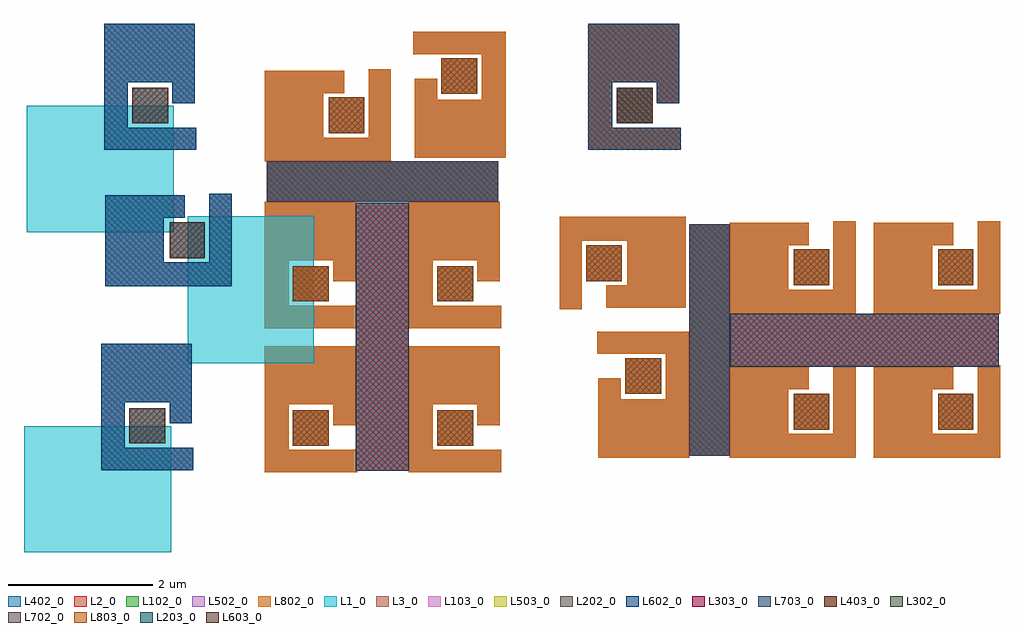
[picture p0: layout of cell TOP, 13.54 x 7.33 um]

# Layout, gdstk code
from math import pi, radians
import gdstk
lib = gdstk.Library(unit=1e-6, precision=1e-09)
def R(c, l, rs):  # rectangles x0, y0, x1, y1
    for r in rs: c.add(gdstk.rectangle(r[:2], r[2:], *l))
def P(c, l, *ps):  # polygons
    for p in ps: c.add(gdstk.Polygon(p, *l))
L1_0 = (1, 0)
L2_0 = (2, 0)
L3_0 = (3, 0)
L102_0 = (102, 0)
L103_0 = (103, 0)
L202_0 = (202, 0)
L203_0 = (203, 0)
L302_0 = (302, 0)
L303_0 = (303, 0)
L402_0 = (402, 0)
L403_0 = (403, 0)
L502_0 = (502, 0)
L503_0 = (503, 0)
L602_0 = (602, 0)
L603_0 = (603, 0)
L702_0 = (702, 0)
L703_0 = (703, 0)
L802_0 = (802, 0)
L803_0 = (803, 0)

b_dis = lib.new_cell('B$DIS')
R(b_dis, L603_0, [(0,0,0.5,0.49)])

a_dis = lib.new_cell('A$DIS')
P(a_dis, L602_0, [(0.01,-0.01),(0.01,1.74),(1.27,1.74),(1.27,0.64),(0.96,0.64),(0.96,0.93),(0.34,0.93),(0.34,0.3),(1.29,0.3),(1.29,-0.01)])
a_dis.add(gdstk.Reference(b_dis, (0.4,0.36)))

b_1 = lib.new_cell('B$1')
R(b_1, L503_0, [(0,0,0.5,0.49)])

a_1 = lib.new_cell('A$1')
P(a_1, L502_0, [(0.01,-0.01),(0.01,1.74),(1.27,1.74),(1.27,0.64),(0.96,0.64),(0.96,0.93),(0.34,0.93),(0.34,0.3),(1.29,0.3),(1.29,-0.01)])
a_1.add(gdstk.Reference(b_1, (0.4,0.36)))

b_id_4 = lib.new_cell('B_id$4')
R(b_id_4, L3_0, [(0,0,0.5,0.49)])
R(b_id_4, L803_0, [(0,0,0.5,0.49)])

avar = lib.new_cell('AVAR')
P(avar, L2_0, [(0.01,-0.01),(0.01,1.74),(1.27,1.74),(1.27,0.64),(0.96,0.64),(0.96,0.93),(0.34,0.93),(0.34,0.3),(1.29,0.3),(1.29,-0.01)])
P(avar, L502_0, [(0.01,-0.01),(0.01,1.74),(1.27,1.74),(1.27,0.64),(0.96,0.64),(0.96,0.93),(0.34,0.93),(0.34,0.3),(1.29,0.3),(1.29,-0.01)])
P(avar, L802_0, [(0.01,-0.01),(0.01,1.74),(1.27,1.74),(1.27,0.64),(0.96,0.64),(0.96,0.93),(0.34,0.93),(0.34,0.3),(1.29,0.3),(1.29,-0.01)])
avar.add(gdstk.Reference(b_1, (0.4,0.36)))
avar.add(gdstk.Reference(b_id_4, (0.4,0.36)))

a_id_6 = lib.new_cell('A_id$6')
P(a_id_6, L2_0, [(0.01,-0.01),(0.01,1.74),(1.27,1.74),(1.27,0.64),(0.96,0.64),(0.96,0.93),(0.34,0.93),(0.34,0.3),(1.29,0.3),(1.29,-0.01)])
P(a_id_6, L802_0, [(0.01,-0.01),(0.01,1.74),(1.27,1.74),(1.27,0.64),(0.96,0.64),(0.96,0.93),(0.34,0.93),(0.34,0.3),(1.29,0.3),(1.29,-0.01)])
a_id_6.add(gdstk.Reference(b_id_4, (0.4,0.36)))

special = lib.new_cell('SPECIAL')
R(special, L2_0, [(0.05,3.76,3.26,4.32)])
R(special, L3_0, [(1.28,0.03,2.02,3.75)])
R(special, L502_0, [(0.05,3.76,3.26,4.32)])
R(special, L503_0, [(1.28,0.03,2.02,3.75)])
R(special, L702_0, [(0.05,3.76,3.26,4.32)])
R(special, L703_0, [(1.28,0.03,2.02,3.75)])
special.add(gdstk.Reference(a_1, (1.76,4.31), rotation=pi/2))
r = gdstk.Reference(a_1, (0.01,0.02)); r.repetition = gdstk.Repetition(2, 2, v1=(2,0), v2=(0,2)); special.add(r)
special.add(gdstk.Reference(avar, (3.37,6.11), rotation=pi))
special.add(gdstk.Reference(a_id_6, (1.76,4.31), rotation=pi/2))
r = gdstk.Reference(a_id_6, (0.01,0.02)); r.repetition = gdstk.Repetition(2, 2, v1=(2,0), v2=(0,2)); special.add(r)

c_x = lib.new_cell('X')
c_x.add(gdstk.Reference(a_dis, (0.39,4.28)))
c_x.add(gdstk.Reference(special, (6.12,-0.02), rotation=pi/2))
c_x.add(gdstk.Reference(a_id_6, (0.39,4.28)))

c_a = lib.new_cell('A')
R(c_a, L1_0, [(-1.06,-1.15,0.98,0.6)])
c_a.add(gdstk.Label('XYZ', (-0.02,-0.31), layer=1, texttype=0))
c_a.add(gdstk.Label('XYZ', (-0.02,-0.31), layer=1, texttype=1))

top = lib.new_cell('TOP')
R(top, L102_0, [(8.16,0.2,8.72,3.41), (2.3,3.72,5.51,4.28)])
P(top, L102_0, [(2.27,-0.03),(2.27,1.72),(3.53,1.72),(3.53,0.62),(3.22,0.62),(3.22,0.91),(2.6,0.91),(2.6,0.28),(3.55,0.28),(3.55,-0.03)],
  [(4.27,-0.03),(4.27,1.72),(5.53,1.72),(5.53,0.62),(5.22,0.62),(5.22,0.91),(4.6,0.91),(4.6,0.28),(5.55,0.28),(5.55,-0.03)],
  [(2.27,1.97),(2.27,3.72),(3.53,3.72),(3.53,2.62),(3.22,2.62),(3.22,2.91),(2.6,2.91),(2.6,2.28),(3.55,2.28),(3.55,1.97)],
  [(4.27,1.97),(4.27,3.72),(5.53,3.72),(5.53,2.62),(5.22,2.62),(5.22,2.91),(4.6,2.91),(4.6,2.28),(5.55,2.28),(5.55,1.97)],
  [(8.72,0.17),(8.72,1.43),(9.82,1.43),(9.82,1.12),(9.53,1.12),(9.53,0.5),(10.16,0.5),(10.16,1.45),(10.47,1.45),(10.47,0.17)],
  [(10.72,0.17),(10.72,1.43),(11.82,1.43),(11.82,1.12),(11.53,1.12),(11.53,0.5),(12.16,0.5),(12.16,1.45),(12.47,1.45),(12.47,0.17)],
  [(8.72,2.17),(8.72,3.43),(9.82,3.43),(9.82,3.12),(9.53,3.12),(9.53,2.5),(10.16,2.5),(10.16,3.45),(10.47,3.45),(10.47,2.17)],
  [(10.72,2.17),(10.72,3.43),(11.82,3.43),(11.82,3.12),(11.53,3.12),(11.53,2.5),(12.16,2.5),(12.16,3.45),(12.47,3.45),(12.47,2.17)],
  [(2.27,4.28),(2.27,5.54),(3.37,5.54),(3.37,5.23),(3.08,5.23),(3.08,4.61),(3.71,4.61),(3.71,5.56),(4.02,5.56),(4.02,4.28)],
  [(6.9,0.17),(6.9,1.27),(7.21,1.27),(7.21,0.98),(7.83,0.98),(7.83,1.61),(6.88,1.61),(6.88,1.92),(8.16,1.92),(8.16,0.17)],
  [(4.35,4.33),(4.35,5.43),(4.66,5.43),(4.66,5.14),(5.28,5.14),(5.28,5.77),(4.33,5.77),(4.33,6.08),(5.61,6.08),(5.61,4.33)],
  [(6.36,2.23),(6.36,3.51),(8.11,3.51),(8.11,2.25),(7.01,2.25),(7.01,2.56),(7.3,2.56),(7.3,3.18),(6.67,3.18),(6.67,2.23)])
R(top, L103_0, [(3.53,-0.01,4.27,3.71), (2.66,0.34,3.16,0.83), (4.66,0.34,5.16,0.83), (9.61,0.56,10.1,1.06), (11.61,0.56,12.1,1.06), (7.27,1.06,7.77,1.55), (8.73,1.43,12.45,2.17), (2.66,2.34,3.16,2.83), (4.66,2.34,5.16,2.83), (9.61,2.56,10.1,3.06), (11.61,2.56,12.1,3.06), (6.73,2.62,7.22,3.12), (3.16,4.67,3.65,5.17), (4.72,5.22,5.22,5.71)])
P(top, L202_0, [(0,0),(0,1.75),(1.26,1.75),(1.26,0.65),(0.95,0.65),(0.95,0.94),(0.33,0.94),(0.33,0.31),(1.28,0.31),(1.28,0)],
  [(0.04,4.44),(0.04,6.19),(1.3,6.19),(1.3,5.09),(0.99,5.09),(0.99,5.38),(0.37,5.38),(0.37,4.75),(1.32,4.75),(1.32,4.44)],
  [(6.76,4.44),(6.76,6.19),(8.02,6.19),(8.02,5.09),(7.71,5.09),(7.71,5.38),(7.09,5.38),(7.09,4.75),(8.04,4.75),(8.04,4.44)],
  [(0.06,2.55),(0.06,3.81),(1.16,3.81),(1.16,3.5),(0.87,3.5),(0.87,2.88),(1.5,2.88),(1.5,3.83),(1.81,3.83),(1.81,2.55)])
R(top, L203_0, [(0.39,0.37,0.89,0.86), (0.95,2.94,1.44,3.44), (0.43,4.81,0.93,5.3), (7.15,4.81,7.65,5.3)])
R(top, L302_0, [(8.16,0.2,8.72,3.41), (2.3,3.72,5.51,4.28)])
R(top, L303_0, [(3.53,-0.01,4.27,3.71), (8.73,1.43,12.45,2.17)])
P(top, L402_0, [(2.27,-0.03),(2.27,1.72),(3.53,1.72),(3.53,0.62),(3.22,0.62),(3.22,0.91),(2.6,0.91),(2.6,0.28),(3.55,0.28),(3.55,-0.03)],
  [(4.27,-0.03),(4.27,1.72),(5.53,1.72),(5.53,0.62),(5.22,0.62),(5.22,0.91),(4.6,0.91),(4.6,0.28),(5.55,0.28),(5.55,-0.03)],
  [(0,0),(0,1.75),(1.26,1.75),(1.26,0.65),(0.95,0.65),(0.95,0.94),(0.33,0.94),(0.33,0.31),(1.28,0.31),(1.28,0)],
  [(2.27,1.97),(2.27,3.72),(3.53,3.72),(3.53,2.62),(3.22,2.62),(3.22,2.91),(2.6,2.91),(2.6,2.28),(3.55,2.28),(3.55,1.97)],
  [(4.27,1.97),(4.27,3.72),(5.53,3.72),(5.53,2.62),(5.22,2.62),(5.22,2.91),(4.6,2.91),(4.6,2.28),(5.55,2.28),(5.55,1.97)],
  [(0.04,4.44),(0.04,6.19),(1.3,6.19),(1.3,5.09),(0.99,5.09),(0.99,5.38),(0.37,5.38),(0.37,4.75),(1.32,4.75),(1.32,4.44)],
  [(6.76,4.44),(6.76,6.19),(8.02,6.19),(8.02,5.09),(7.71,5.09),(7.71,5.38),(7.09,5.38),(7.09,4.75),(8.04,4.75),(8.04,4.44)],
  [(8.72,0.17),(8.72,1.43),(9.82,1.43),(9.82,1.12),(9.53,1.12),(9.53,0.5),(10.16,0.5),(10.16,1.45),(10.47,1.45),(10.47,0.17)],
  [(10.72,0.17),(10.72,1.43),(11.82,1.43),(11.82,1.12),(11.53,1.12),(11.53,0.5),(12.16,0.5),(12.16,1.45),(12.47,1.45),(12.47,0.17)],
  [(8.72,2.17),(8.72,3.43),(9.82,3.43),(9.82,3.12),(9.53,3.12),(9.53,2.5),(10.16,2.5),(10.16,3.45),(10.47,3.45),(10.47,2.17)],
  [(10.72,2.17),(10.72,3.43),(11.82,3.43),(11.82,3.12),(11.53,3.12),(11.53,2.5),(12.16,2.5),(12.16,3.45),(12.47,3.45),(12.47,2.17)],
  [(0.06,2.55),(0.06,3.81),(1.16,3.81),(1.16,3.5),(0.87,3.5),(0.87,2.88),(1.5,2.88),(1.5,3.83),(1.81,3.83),(1.81,2.55)],
  [(2.27,4.28),(2.27,5.54),(3.37,5.54),(3.37,5.23),(3.08,5.23),(3.08,4.61),(3.71,4.61),(3.71,5.56),(4.02,5.56),(4.02,4.28)],
  [(6.9,0.17),(6.9,1.27),(7.21,1.27),(7.21,0.98),(7.83,0.98),(7.83,1.61),(6.88,1.61),(6.88,1.92),(8.16,1.92),(8.16,0.17)],
  [(4.35,4.33),(4.35,5.43),(4.66,5.43),(4.66,5.14),(5.28,5.14),(5.28,5.77),(4.33,5.77),(4.33,6.08),(5.61,6.08),(5.61,4.33)],
  [(6.36,2.23),(6.36,3.51),(8.11,3.51),(8.11,2.25),(7.01,2.25),(7.01,2.56),(7.3,2.56),(7.3,3.18),(6.67,3.18),(6.67,2.23)])
R(top, L403_0, [(2.66,0.34,3.16,0.83), (4.66,0.34,5.16,0.83), (0.39,0.37,0.89,0.86), (9.61,0.56,10.1,1.06), (11.61,0.56,12.1,1.06), (7.27,1.06,7.77,1.55), (2.66,2.34,3.16,2.83), (4.66,2.34,5.16,2.83), (9.61,2.56,10.1,3.06), (11.61,2.56,12.1,3.06), (6.73,2.62,7.22,3.12), (0.95,2.94,1.44,3.44), (3.16,4.67,3.65,5.17), (0.43,4.81,0.93,5.3), (7.15,4.81,7.65,5.3), (4.72,5.22,5.22,5.71)])
top.add(gdstk.Reference(c_x, (6.36,0.17)))
top.add(gdstk.Reference(a_dis, (1.8,2.54), rotation=pi/2))
top.add(gdstk.Reference(a_dis, (-0.01,0.01)))
top.add(gdstk.Reference(a_dis, (0.03,4.45)))
top.add(gdstk.Reference(special, (2.25,-0.04)))
top.add(gdstk.Reference(c_a, (1.8,2.54), rotation=pi/2))
top.add(gdstk.Reference(c_a, (-0.01,0.01)))
top.add(gdstk.Reference(c_a, (0.03,4.45)))

lib.write_gds('TOP.gds')
